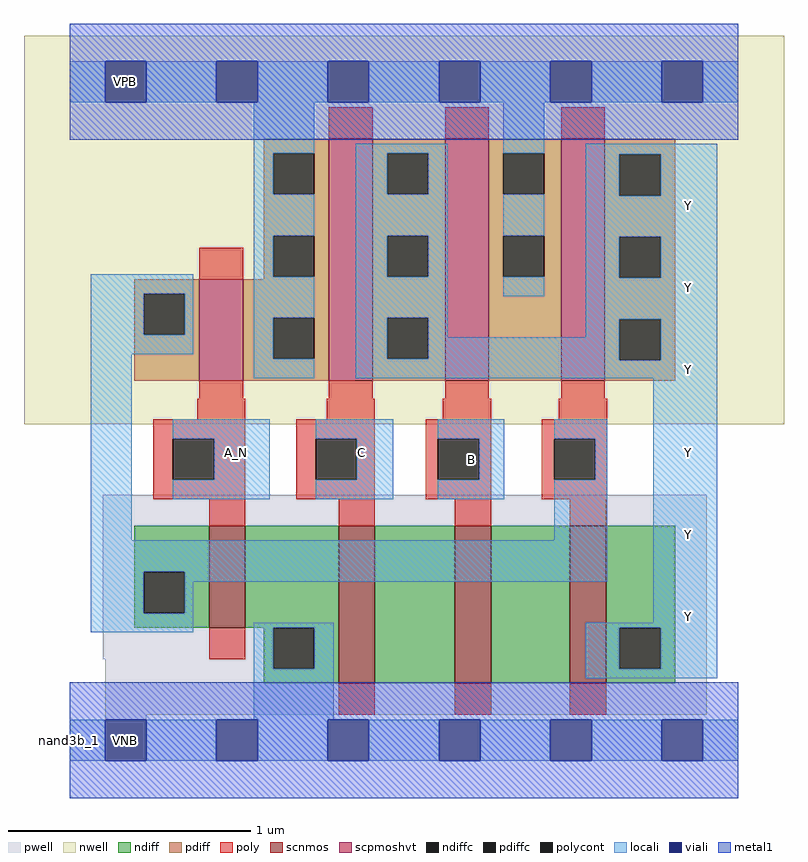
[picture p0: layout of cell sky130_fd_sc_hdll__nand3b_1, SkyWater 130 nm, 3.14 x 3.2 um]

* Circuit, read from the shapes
.subckt sky130_fd_sc_hdll__nand3b_1 A_N B C VGND VNB VPB VPWR Y
XM1 VGND A_N n1 VNB sky130_fd_pr__nfet_01v8 w=0.42 l=0.15
XM2 n2 C VGND VNB sky130_fd_pr__nfet_01v8 w=0.65 l=0.15
XM3 n3 B n2 VNB sky130_fd_pr__nfet_01v8 w=0.65 l=0.15
XM4 Y n1 n3 VNB sky130_fd_pr__nfet_01v8 w=0.65 l=0.15
XM5 VPWR A_N n1 VPB sky130_fd_pr__pfet_01v8_hvt w=0.42 l=0.18
XM6 Y C VPWR VPB sky130_fd_pr__pfet_01v8_hvt w=1 l=0.18
XM7 VPWR B Y VPB sky130_fd_pr__pfet_01v8_hvt w=1 l=0.18
XM8 Y n1 VPWR VPB sky130_fd_pr__pfet_01v8_hvt w=1 l=0.18
.ends

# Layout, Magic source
magic
tech sky130A
magscale 1 2
<< nwell >>
rect -38 261 590 582
<< pwell >>
rect 27 67 526 203
rect 29 21 526 67
rect 29 -17 63 21
<< scnmos >>
rect 115 93 145 177
rect 222 47 252 177
rect 318 47 348 177
rect 413 47 443 177
<< scpmoshvt >>
rect 107 297 143 381
rect 214 297 250 497
rect 310 297 346 497
rect 406 297 442 497
<< ndiff >>
rect 53 139 115 177
rect 53 105 61 139
rect 95 105 115 139
rect 53 93 115 105
rect 145 93 222 177
rect 160 59 168 93
rect 202 59 222 93
rect 160 47 222 59
rect 252 47 318 177
rect 348 47 413 177
rect 443 93 500 177
rect 443 59 454 93
rect 488 59 500 93
rect 443 47 500 59
<< pdiff >>
rect 160 485 214 497
rect 160 451 168 485
rect 202 451 214 485
rect 160 417 214 451
rect 160 383 168 417
rect 202 383 214 417
rect 160 381 214 383
rect 53 369 107 381
rect 53 335 61 369
rect 95 335 107 369
rect 53 297 107 335
rect 143 349 214 381
rect 143 315 168 349
rect 202 315 214 349
rect 143 297 214 315
rect 250 485 310 497
rect 250 451 262 485
rect 296 451 310 485
rect 250 417 310 451
rect 250 383 262 417
rect 296 383 310 417
rect 250 349 310 383
rect 250 315 262 349
rect 296 315 310 349
rect 250 297 310 315
rect 346 485 406 497
rect 346 451 358 485
rect 392 451 406 485
rect 346 417 406 451
rect 346 383 358 417
rect 392 383 406 417
rect 346 297 406 383
rect 442 484 500 497
rect 442 450 454 484
rect 488 450 500 484
rect 442 416 500 450
rect 442 382 454 416
rect 488 382 500 416
rect 442 348 500 382
rect 442 314 454 348
rect 488 314 500 348
rect 442 297 500 314
<< ndiffc >>
rect 61 105 95 139
rect 168 59 202 93
rect 454 59 488 93
<< pdiffc >>
rect 168 451 202 485
rect 168 383 202 417
rect 61 335 95 369
rect 168 315 202 349
rect 262 451 296 485
rect 262 383 296 417
rect 262 315 296 349
rect 358 451 392 485
rect 358 383 392 417
rect 454 450 488 484
rect 454 382 488 416
rect 454 314 488 348
<< poly >>
rect 214 497 250 523
rect 310 497 346 523
rect 406 497 442 523
rect 107 381 143 407
rect 107 282 143 297
rect 214 282 250 297
rect 310 282 346 297
rect 406 282 442 297
rect 105 265 145 282
rect 212 265 252 282
rect 308 265 348 282
rect 404 265 444 282
rect 69 249 145 265
rect 69 215 85 249
rect 119 215 145 249
rect 69 199 145 215
rect 187 249 252 265
rect 187 215 203 249
rect 237 215 252 249
rect 187 199 252 215
rect 294 249 348 265
rect 294 215 304 249
rect 338 215 348 249
rect 294 199 348 215
rect 390 249 444 265
rect 390 215 400 249
rect 434 215 444 249
rect 390 199 444 215
rect 115 177 145 199
rect 222 177 252 199
rect 318 177 348 199
rect 413 177 443 199
rect 115 67 145 93
rect 222 21 252 47
rect 318 21 348 47
rect 413 21 443 47
<< polycont >>
rect 85 215 119 249
rect 203 215 237 249
rect 304 215 338 249
rect 400 215 434 249
<< locali >>
rect 0 527 29 561
rect 63 527 121 561
rect 155 527 213 561
rect 247 527 305 561
rect 339 527 397 561
rect 431 527 489 561
rect 523 527 552 561
rect 152 485 202 527
rect 152 451 168 485
rect 152 417 202 451
rect 17 369 102 385
rect 17 335 61 369
rect 95 335 102 369
rect 17 319 102 335
rect 152 383 168 417
rect 152 349 202 383
rect 17 165 51 319
rect 152 315 168 349
rect 152 299 202 315
rect 236 485 312 493
rect 236 451 262 485
rect 296 451 312 485
rect 236 417 312 451
rect 236 383 262 417
rect 296 383 312 417
rect 236 349 312 383
rect 358 485 392 527
rect 358 417 392 451
rect 358 367 392 383
rect 426 484 535 493
rect 426 450 454 484
rect 488 450 535 484
rect 426 416 535 450
rect 426 382 454 416
rect 488 382 535 416
rect 236 315 262 349
rect 296 333 312 349
rect 426 348 535 382
rect 426 333 454 348
rect 296 315 454 333
rect 236 314 454 315
rect 488 314 535 348
rect 236 299 535 314
rect 85 249 165 265
rect 119 215 165 249
rect 85 199 165 215
rect 203 249 267 265
rect 237 215 267 249
rect 203 199 267 215
rect 304 249 359 265
rect 338 215 359 249
rect 304 199 359 215
rect 400 249 444 265
rect 434 215 444 249
rect 400 165 444 215
rect 17 139 444 165
rect 17 105 61 139
rect 95 131 444 139
rect 95 105 102 131
rect 17 89 102 105
rect 482 97 535 299
rect 152 93 218 97
rect 152 59 168 93
rect 202 59 218 93
rect 152 17 218 59
rect 426 93 535 97
rect 426 59 454 93
rect 488 59 535 93
rect 426 51 535 59
rect 0 -17 29 17
rect 63 -17 121 17
rect 155 -17 213 17
rect 247 -17 305 17
rect 339 -17 397 17
rect 431 -17 489 17
rect 523 -17 552 17
<< viali >>
rect 29 527 63 561
rect 121 527 155 561
rect 213 527 247 561
rect 305 527 339 561
rect 397 527 431 561
rect 489 527 523 561
rect 29 -17 63 17
rect 121 -17 155 17
rect 213 -17 247 17
rect 305 -17 339 17
rect 397 -17 431 17
rect 489 -17 523 17
<< metal1 >>
rect 0 561 552 592
rect 0 527 29 561
rect 63 527 121 561
rect 155 527 213 561
rect 247 527 305 561
rect 339 527 397 561
rect 431 527 489 561
rect 523 527 552 561
rect 0 496 552 527
rect 0 17 552 48
rect 0 -17 29 17
rect 63 -17 121 17
rect 155 -17 213 17
rect 247 -17 305 17
rect 339 -17 397 17
rect 431 -17 489 17
rect 523 -17 552 17
rect 0 -48 552 -17
<< labels >>
flabel locali s 304 199 359 265 0 FreeSans 250 0 0 0 B
port 2 nsew signal input
flabel locali s 223 221 258 255 0 FreeSans 250 0 0 0 C
port 3 nsew signal input
flabel locali s 121 221 155 255 0 FreeSans 250 0 0 0 A_N
port 1 nsew signal input
flabel locali s 494 85 528 119 0 FreeSans 250 0 0 0 Y
port 8 nsew signal output
flabel locali s 494 153 528 187 0 FreeSans 250 0 0 0 Y
port 8 nsew signal output
flabel locali s 494 221 528 255 0 FreeSans 250 0 0 0 Y
port 8 nsew signal output
flabel locali s 494 289 528 323 0 FreeSans 250 0 0 0 Y
port 8 nsew signal output
flabel locali s 494 357 528 391 0 FreeSans 250 0 0 0 Y
port 8 nsew signal output
flabel locali s 494 425 528 459 0 FreeSans 250 0 0 0 Y
port 8 nsew signal output
flabel nwell s 29 527 63 561 0 FreeSans 200 0 0 0 VPB
port 6 nsew power bidirectional
flabel pwell s 29 -17 63 17 0 FreeSans 200 0 0 0 VNB
port 5 nsew ground bidirectional
flabel metal1 s 29 -17 63 17 0 FreeSans 200 0 0 0 VGND
port 4 nsew ground bidirectional
flabel metal1 s 29 527 63 561 0 FreeSans 200 0 0 0 VPWR
port 7 nsew power bidirectional
rlabel comment s 0 0 0 0 4 nand3b_1
<< properties >>
string LEFsite unithd
string LEFclass CORE
string FIXED_BBOX 0 0 552 544
string GDS_FILE $PDKPATH/libs.ref/sky130_fd_sc_hdll/gds/sky130_fd_sc_hdll.gds
string LEFsymmetry X Y R90
string GDS_END 2228844
string GDS_START 2223198
string LEFproperties maskLayoutSubType "abstract" prCellType "standard" originalViewName "layout"
<< end >>
